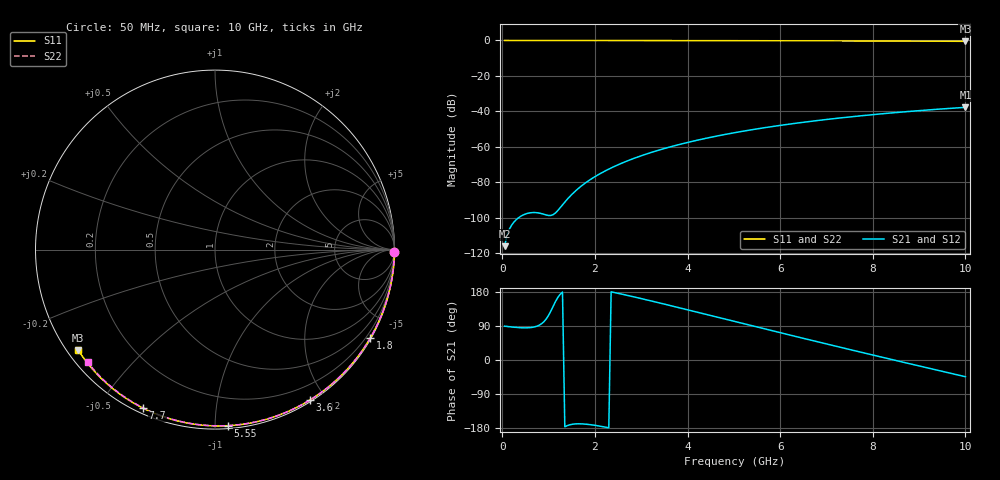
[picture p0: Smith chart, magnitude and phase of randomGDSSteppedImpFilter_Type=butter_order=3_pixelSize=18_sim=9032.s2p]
! freq	dB(S11)	phase(S11)	dB(S12)	phase(S12)
!  dB(S21)	phase(S21)	dB(S22)	phase(S22)
!S-par simulation data
#  GHz  S  DB  R 50
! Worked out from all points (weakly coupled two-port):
!   200 points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, 50 MHz to 10 GHz, reference 50 ohm
!   highest |S21| = -37.77 dB at 10 GHz (marker M1); lowest = -116.2 dB at 50 MHz (marker M2)
!   lowest |S11| = -0.5 dB at 10 GHz (marker M3), VSWR 35.83, Z = 1.55 - j16.4 ohm
!   |S11| at or under -10 dB: nowhere
!   |S22| runs from -0.5 to 0.0 dB; largest |S21 - S12| = 0
!   S11 on the Smith chart (normalised r, x): 50 MHz: open; 1.8 GHz: 0.03, -3.79; 3.6 GHz: 0.02, -1.82; 5.55 GHz: 0.02, -1.08; 7.7 GHz: 0.02, -0.64; 10 GHz: 0.03, -0.33
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0.05  -0.00 -0.8  -116.17 89.3  -116.17 89.3  -0.00 -0.8
0.45  -0.01 -7.5  -98.55 84.9  -98.55 84.9  -0.01 -7.2
0.9  -0.02 -14.9  -98.18 101.2  -98.18 101.2  -0.02 -14.3
1.3  -0.03 -21.4  -92.84 179.3  -92.84 179.3  -0.03 -20.6
1.75  -0.04 -28.7  -81.33 -168.8  -81.33 -168.8  -0.04 -27.6
1.8  -0.04 -29.5  -80.36 -169.3  -80.36 -169.3  -0.04 -28.4
1.85  -0.04 -30.3  -79.45 -169.9  -79.45 -169.9  -0.04 -29.2
2.05  -0.04 -33.5  -76.14 -173.3  -76.14 -173.3  -0.04 -32.3
2.2  -0.05 -35.9  -73.97 -176.6  -73.97 -176.6  -0.04 -34.6
2.5  -0.05 -40.7  -70.20 176.0  -70.20 176.0  -0.05 -39.1
2.9  -0.06 -46.9  -66.04 165.0  -66.04 165.0  -0.06 -45.2
3.4  -0.07 -54.6  -61.77 150.4  -61.77 150.4  -0.07 -52.6
3.6  -0.08 -57.6  -60.28 144.5  -60.28 144.5  -0.07 -55.5
4.3  -0.10 -68.0  -55.80 123.4  -55.80 123.4  -0.09 -65.5
5.05  -0.12 -78.8  -51.92 100.7  -51.92 100.7  -0.12 -76.0
5.55  -0.14 -85.8  -49.73 85.6  -49.73 85.6  -0.14 -82.8
6.1  -0.17 -93.4  -47.60 69.1  -47.60 69.1  -0.16 -90.1
6.7  -0.20 -101.4  -45.55 51.2  -45.55 51.2  -0.19 -97.9
7.7  -0.26 -114.5  -42.66 21.8  -42.66 21.8  -0.25 -110.5
8.35  -0.31 -122.8  -41.06 3.0  -41.06 3.0  -0.30 -118.5
9.2  -0.40 -133.5  -39.23 -21.4  -39.23 -21.4  -0.38 -128.8
10  -0.49 -143.6  -37.77 -44.1  -37.77 -44.1  -0.47 -138.5
